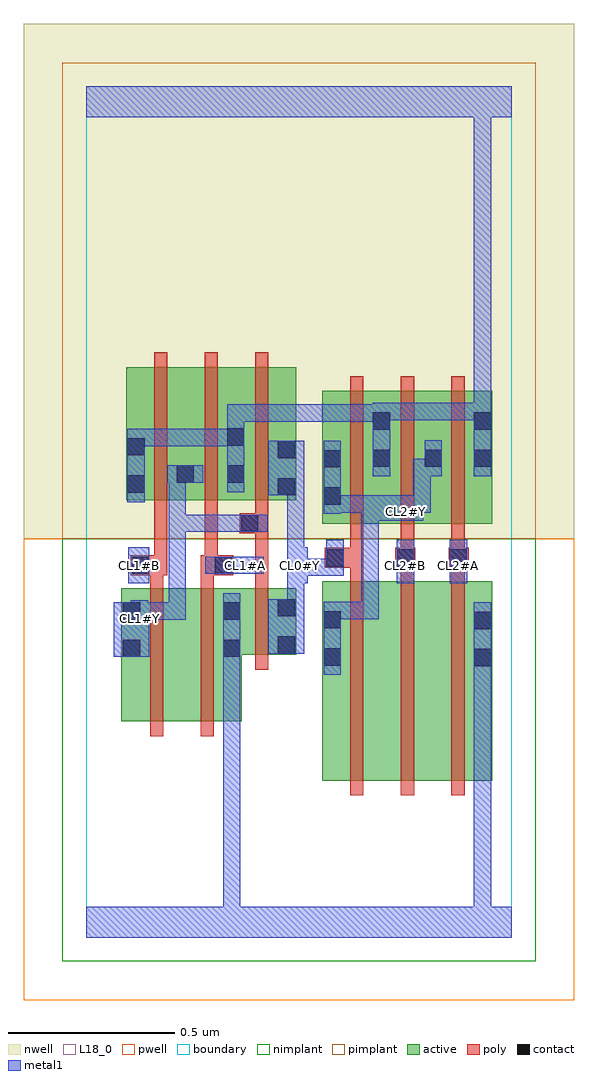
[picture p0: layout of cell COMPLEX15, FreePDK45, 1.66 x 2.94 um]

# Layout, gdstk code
import gdstk
lib = gdstk.Library(unit=1e-6, precision=1e-09)
def R(c, l, rs):  # rectangles x0, y0, x1, y1
    for r in rs: c.add(gdstk.rectangle(r[:2], r[2:], *l))
def A(c, l, x, y, w, h, nx, ny, dx, dy):  # array of equal rectangles
    R(c, l, [(x+i*dx, y+j*dy, x+i*dx+w, y+j*dy+h) for i in range(nx) for j in range(ny)])
active = (1, 0)
pwell = (2, 0)
nwell = (3, 0)
nimplant = (4, 0)
pimplant = (5, 0)
poly = (9, 0)
contact = (10, 0)
metal1 = (11, 0)
L18_0 = (18, 0)
boundary = (235, 0)

complex15 = lib.new_cell('COMPLEX15')
R(complex15, active, [(0.71,0.472,0.77,1.072), (0.71,0.472,0.89,1.072), (0.89,0.472,1.042,1.072), (1.042,0.472,1.222,1.072), (1.162,0.472,1.222,1.072), (0.106,0.65,0.288,1.05), (0.106,0.65,0.166,1.05), (0.288,0.65,0.468,1.05), (0.408,0.84,0.468,1.012), (0.408,0.85,0.632,1.05), (0.572,0.85,0.632,1.05), (0.71,1.244,0.77,1.644), (0.71,1.244,0.918,1.644), (0.858,1.244,0.918,1.644), (0.858,1.244,1.074,1.644), (1.014,1.244,1.074,1.644), (1.014,1.244,1.222,1.644), (1.162,1.244,1.222,1.644), (0.12,1.316,0.18,1.716), (0.12,1.316,0.328,1.716), (0.268,1.316,0.48,1.716), (0.42,1.316,0.48,1.716), (0.42,1.316,0.632,1.716), (0.572,1.316,0.632,1.716), (0.268,1.364,0.328,1.644)])
R(complex15, pwell, [(-0.188,-0.188,1.468,1.2)])
R(complex15, nwell, [(-0.188,1.2,1.468,2.748)])
R(complex15, nimplant, [(-0.072,-0.072,1.352,1.2)])
R(complex15, pimplant, [(-0.072,1.2,1.352,2.632)])
A(complex15, poly, 0.794, 0.428, 0.04, 0.688, 3, 1, 0.152, 0)
A(complex15, poly, 0.794, 1.076, 0.04, 0.076, 3, 1, 0.152, 0)
A(complex15, poly, 0.794, 1.132, 0.04, 0.108, 3, 1, 0.152, 0)
A(complex15, poly, 0.794, 1.2, 0.04, 0.488, 3, 1, 0.152, 0)
A(complex15, poly, 0.204, 1.272, 0.04, 0.488, 3, 1, 0.152, 0)
R(complex15, poly, [(0.192,0.606,0.232,1.094), (0.344,0.606,0.384,1.094), (0.508,0.806,0.548,1.094), (0.192,1.054,0.232,1.13), (0.344,1.054,0.384,1.13), (0.508,1.054,0.548,1.256), (0.134,1.09,0.244,1.15), (0.192,1.09,0.232,1.13), (0.192,1.09,0.232,1.13), (0.344,1.09,0.442,1.15), (0.204,1.11,0.244,1.312), (0.356,1.11,0.396,1.15), (0.356,1.11,0.396,1.15), (0.356,1.11,0.396,1.312), (0.718,1.112,0.834,1.172), (0.93,1.112,0.99,1.172), (1.09,1.112,1.15,1.172), (1.098,1.112,1.138,1.152), (1.098,1.112,1.138,1.152), (0.794,1.132,0.834,1.172), (0.794,1.132,0.834,1.172), (0.946,1.132,0.986,1.172), (0.946,1.132,0.986,1.172), (0.462,1.216,0.548,1.276), (0.508,1.216,0.548,1.256), (0.508,1.216,0.548,1.256), (0.508,1.236,0.548,1.312)])
R(complex15, contact, [(1.166,0.816,1.218,0.868), (0.714,0.818,0.766,0.87), (0.11,0.844,0.162,0.896), (0.412,0.844,0.464,0.896), (0.576,0.854,0.628,0.906), (1.166,0.928,1.218,0.98), (0.714,0.93,0.766,0.982), (0.11,0.956,0.162,1.008), (0.412,0.956,0.464,1.008), (0.576,0.966,0.628,1.018), (0.138,1.094,0.19,1.146), (0.386,1.094,0.438,1.146), (0.722,1.116,0.774,1.168), (0.934,1.116,0.986,1.168), (1.094,1.116,1.146,1.168), (0.466,1.22,0.518,1.272), (0.714,1.302,0.766,1.354), (0.576,1.33,0.628,1.382), (0.124,1.338,0.176,1.39), (0.272,1.368,0.324,1.42), (0.424,1.368,0.476,1.42), (0.714,1.414,0.766,1.466), (0.862,1.416,0.914,1.468), (1.018,1.416,1.07,1.468), (1.166,1.416,1.218,1.468), (0.576,1.442,0.628,1.494), (0.124,1.45,0.176,1.502), (0.424,1.48,0.476,1.532), (0.862,1.528,0.914,1.58), (1.166,1.528,1.218,1.58)])
R(complex15, metal1, [(0,0,1.28,0.092), (0.412,0.04,0.464,0.092), (0.412,0.04,0.464,0.092), (0.412,0.04,0.464,0.868), (1.166,0.04,1.218,0.092), (1.166,0.04,1.218,0.092), (1.166,0.04,1.218,0.092), (1.166,0.04,1.218,0.092), (1.166,0.04,1.218,0.092), (1.166,0.04,1.218,0.092), (1.166,0.04,1.218,0.84), (1.166,0.788,1.218,0.84), (1.166,0.788,1.218,0.84), (1.166,0.788,1.218,1.008), (0.714,0.79,0.766,1.01), (0.412,0.816,0.464,0.868), (0.412,0.816,0.464,0.868), (0.412,0.816,0.464,0.868), (0.412,0.816,0.464,0.868), (0.412,0.816,0.464,0.868), (0.412,0.816,0.464,0.868), (0.412,0.816,0.464,0.868), (0.412,0.816,0.464,0.868), (0.412,0.816,0.464,0.868), (0.412,0.816,0.464,0.868), (0.412,0.816,0.464,1.036), (0.082,0.844,0.19,1.008), (0.548,0.854,0.656,1.018), (0.134,0.906,0.186,1.014), (0.134,0.956,0.186,1.008), (0.134,0.956,0.186,1.008), (0.134,0.956,0.186,1.008), (0.134,0.956,0.3,1.008), (0.248,0.956,0.3,1.008), (0.248,0.956,0.3,1.272), (0.714,0.958,0.776,1.01), (0.724,0.958,0.776,1.01), (0.724,0.958,0.88,1.01), (0.828,0.958,0.88,1.01), (0.828,0.958,0.88,1.306), (0.604,0.966,0.656,1.118), (0.126,1.066,0.19,1.174), (0.604,1.066,0.666,1.174), (0.934,1.066,0.986,1.196), (1.094,1.066,1.146,1.196), (0.614,1.088,0.666,1.14), (0.614,1.088,0.666,1.14), (0.614,1.088,0.774,1.14), (0.722,1.088,0.774,1.196), (0.358,1.094,0.534,1.146), (0.604,1.122,0.656,1.382), (0.248,1.22,0.3,1.272), (0.248,1.22,0.3,1.272), (0.248,1.22,0.3,1.272), (0.248,1.22,0.49,1.272), (0.248,1.22,0.3,1.42), (0.438,1.22,0.49,1.272), (0.438,1.22,0.49,1.272), (0.438,1.22,0.546,1.272), (0.828,1.254,0.88,1.306), (0.828,1.254,0.88,1.306), (0.828,1.254,1.014,1.306), (0.908,1.254,0.96,1.33), (0.714,1.274,0.766,1.494), (0.714,1.278,0.804,1.33), (0.752,1.278,0.804,1.33), (0.752,1.278,0.96,1.33), (0.908,1.278,0.96,1.33), (0.908,1.278,1.036,1.33), (0.984,1.278,1.036,1.44), (0.124,1.31,0.176,1.53), (0.548,1.33,0.656,1.494), (0.604,1.33,0.656,1.382), (0.604,1.33,0.656,1.382), (0.424,1.34,0.476,1.56), (0.244,1.368,0.352,1.42), (0.862,1.388,0.914,1.608), (0.984,1.388,1.07,1.44), (1.018,1.388,1.07,1.496), (1.166,1.388,1.218,1.608), (0.124,1.478,0.176,1.53), (0.124,1.478,0.176,1.53), (0.124,1.478,0.3,1.53), (0.248,1.478,0.3,1.53), (0.248,1.478,0.3,1.53), (0.248,1.478,0.3,1.53), (0.248,1.478,0.476,1.53), (0.424,1.508,0.476,1.56), (0.424,1.508,0.476,1.604), (0.424,1.552,0.664,1.604), (0.612,1.552,0.664,1.604), (0.612,1.552,0.664,1.604), (0.612,1.552,0.664,1.604), (0.612,1.552,0.804,1.604), (0.752,1.552,0.804,1.604), (0.752,1.552,0.914,1.604), (0.862,1.556,0.914,1.608), (0.862,1.556,0.914,1.608), (0.862,1.556,1.07,1.608), (1.018,1.556,1.07,1.608), (1.018,1.556,1.218,1.608), (1.166,1.556,1.218,1.608), (1.166,1.556,1.218,1.608), (1.166,1.556,1.218,1.608), (1.166,1.556,1.218,1.608), (1.166,1.556,1.218,1.608), (1.166,1.556,1.218,1.608), (1.166,1.556,1.218,1.608), (1.166,1.556,1.218,1.608), (1.166,1.556,1.218,2.52), (0,2.468,1.28,2.56), (1.166,2.468,1.218,2.52), (1.166,2.468,1.218,2.52), (1.166,2.468,1.218,2.52), (1.166,2.468,1.218,2.52), (1.166,2.468,1.218,2.52), (1.166,2.468,1.218,2.52), (1.166,2.468,1.218,2.52), (1.166,2.468,1.218,2.52), (1.166,2.468,1.218,2.52), (1.166,2.468,1.218,2.52)])
R(complex15, L18_0, [(0,0,1.28,0.092), (0.412,0.04,0.464,0.092), (0.412,0.04,0.464,0.092), (0.412,0.04,0.464,0.868), (1.166,0.04,1.218,0.092), (1.166,0.04,1.218,0.092), (1.166,0.04,1.218,0.092), (1.166,0.04,1.218,0.092), (1.166,0.04,1.218,0.092), (1.166,0.04,1.218,0.092), (1.166,0.04,1.218,0.84), (1.166,0.788,1.218,0.84), (1.166,0.788,1.218,0.84), (1.166,0.788,1.218,1.008), (0.714,0.79,0.766,1.01), (0.412,0.816,0.464,0.868), (0.412,0.816,0.464,0.868), (0.412,0.816,0.464,0.868), (0.412,0.816,0.464,0.868), (0.412,0.816,0.464,0.868), (0.412,0.816,0.464,0.868), (0.412,0.816,0.464,0.868), (0.412,0.816,0.464,0.868), (0.412,0.816,0.464,0.868), (0.412,0.816,0.464,0.868), (0.412,0.816,0.464,1.036), (0.082,0.844,0.19,1.008), (0.548,0.854,0.656,1.018), (0.134,0.906,0.186,1.014), (0.134,0.934,0.186,0.986), (0.134,0.956,0.186,1.008), (0.134,0.956,0.186,1.008), (0.134,0.956,0.186,1.008), (0.134,0.956,0.3,1.008), (0.248,0.956,0.3,1.008), (0.248,0.956,0.3,1.272), (0.714,0.958,0.776,1.01), (0.724,0.958,0.776,1.01), (0.724,0.958,0.88,1.01), (0.828,0.958,0.88,1.01), (0.828,0.958,0.88,1.306), (0.604,0.966,0.656,1.118), (0.126,1.066,0.19,1.174), (0.604,1.066,0.666,1.174), (0.934,1.066,0.986,1.196), (1.094,1.066,1.146,1.196), (0.614,1.088,0.666,1.14), (0.614,1.088,0.666,1.14), (0.614,1.088,0.774,1.14), (0.722,1.088,0.774,1.196), (0.134,1.094,0.186,1.146), (0.358,1.094,0.534,1.146), (0.454,1.094,0.506,1.146), (0.614,1.094,0.666,1.146), (0.934,1.094,0.986,1.146), (1.094,1.094,1.146,1.146), (0.604,1.122,0.656,1.382), (0.248,1.22,0.3,1.272), (0.248,1.22,0.3,1.272), (0.248,1.22,0.3,1.272), (0.248,1.22,0.3,1.42), (0.248,1.22,0.49,1.272), (0.438,1.22,0.49,1.272), (0.438,1.22,0.49,1.272), (0.438,1.22,0.546,1.272), (0.828,1.254,0.88,1.306), (0.828,1.254,0.88,1.306), (0.828,1.254,1.014,1.306), (0.908,1.254,0.96,1.33), (0.934,1.254,0.986,1.306), (0.714,1.274,0.766,1.494), (0.714,1.278,0.804,1.33), (0.752,1.278,0.804,1.33), (0.752,1.278,0.96,1.33), (0.908,1.278,0.96,1.33), (0.908,1.278,1.036,1.33), (0.984,1.278,1.036,1.44), (0.124,1.31,0.176,1.53), (0.548,1.33,0.656,1.494), (0.604,1.33,0.656,1.382), (0.604,1.33,0.656,1.382), (0.424,1.34,0.476,1.56), (0.244,1.368,0.352,1.42), (0.862,1.388,0.914,1.608), (0.984,1.388,1.07,1.44), (1.018,1.388,1.07,1.496), (1.166,1.388,1.218,1.608), (0.124,1.478,0.176,1.53), (0.124,1.478,0.176,1.53), (0.124,1.478,0.3,1.53), (0.248,1.478,0.3,1.53), (0.248,1.478,0.3,1.53), (0.248,1.478,0.3,1.53), (0.248,1.478,0.476,1.53), (0.424,1.508,0.476,1.56), (0.424,1.508,0.476,1.604), (0.424,1.552,0.664,1.604), (0.612,1.552,0.664,1.604), (0.612,1.552,0.664,1.604), (0.612,1.552,0.664,1.604), (0.612,1.552,0.804,1.604), (0.752,1.552,0.804,1.604), (0.752,1.552,0.914,1.604), (0.862,1.556,0.914,1.608), (0.862,1.556,0.914,1.608), (0.862,1.556,1.07,1.608), (1.018,1.556,1.07,1.608), (1.018,1.556,1.218,1.608), (1.166,1.556,1.218,1.608), (1.166,1.556,1.218,1.608), (1.166,1.556,1.218,1.608), (1.166,1.556,1.218,1.608), (1.166,1.556,1.218,1.608), (1.166,1.556,1.218,1.608), (1.166,1.556,1.218,1.608), (1.166,1.556,1.218,1.608), (1.166,1.556,1.218,2.52), (0,2.468,1.28,2.56), (1.166,2.468,1.218,2.52), (1.166,2.468,1.218,2.52), (1.166,2.468,1.218,2.52), (1.166,2.468,1.218,2.52), (1.166,2.468,1.218,2.52), (1.166,2.468,1.218,2.52), (1.166,2.468,1.218,2.52), (1.166,2.468,1.218,2.52), (1.166,2.468,1.218,2.52), (1.166,2.468,1.218,2.52)])
R(complex15, boundary, [(0,0,1.28,2.56)])
complex15.add(gdstk.Label('CL0#Y', (0.64,1.12), layer=11, texttype=0))
complex15.add(gdstk.Label('CL1#A', (0.48,1.12), layer=11, texttype=0))
complex15.add(gdstk.Label('CL1#B', (0.16,1.12), layer=11, texttype=0))
complex15.add(gdstk.Label('CL1#Y', (0.16,0.96), layer=11, texttype=0))
complex15.add(gdstk.Label('CL2#A', (1.12,1.12), layer=11, texttype=0))
complex15.add(gdstk.Label('CL2#B', (0.96,1.12), layer=11, texttype=0))
complex15.add(gdstk.Label('CL2#Y', (0.96,1.28), layer=11, texttype=0))

lib.write_gds('COMPLEX15.gds')
